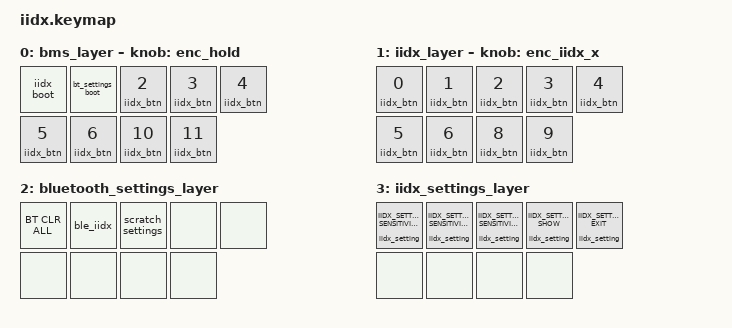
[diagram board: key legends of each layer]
#include <behaviors.dtsi>
#include <dt-bindings/zmk/bt.h>
#include <dt-bindings/zmk/keys.h>
#include <dt-bindings/zmk/outputs.h>
#include <dt-bindings/zmk_iidx/settings.h>

/ {
    behaviors {
        iidx_btn: iidx_button {
            compatible = "zmk,behavior-iidx-button";
            #binding-cells = <1>;
        };

        iidx_mode: iidx_mode {
            compatible = "zmk,behavior-iidx-mode";
            #binding-cells = <0>;
            iidx-layers = <0 1>;
        };

        iidx_boot: iidx_boot {
            compatible = "zmk,behavior-iidx-boot-select";
            #binding-cells = <0>;
            bindings = <&to 1>, <&iidx_btn 0>;
            boot-timeout-ms = <1000>;
        };

        bt_settings_boot: bt_settings_boot {
            compatible = "zmk,behavior-iidx-boot-select";
            #binding-cells = <0>;
            bindings = <&to 2>, <&iidx_btn 1>;
            boot-timeout-ms = <1000>;
        };

        enc_hold: enc_hold {
            compatible = "zmk,behavior-sensor-hold-step-rotate";
            #sensor-binding-cells = <0>;
            step-group-size = <0>;
            timeout-ms = <200>;
            direction-hold-mode = <0>;

            require-top-layer;

            bindings = <
                &iidx_btn 8   /* hold_cw  */
                &iidx_btn 9   /* hold_ccw */
                &none    /* step_cw  */
                &none   /* step_ccw */
            >;
        };

        enc_iidx_x: enc_iidx_x {
            compatible = "zmk,behavior-sensor-iidx-x-value";
            #sensor-binding-cells = <0>;

            index = <0>;
            min = <(-127)>;
            max = <127>;
            step = <(-5)>;
            ticks-per-step = <1>;
            continuous;
        };

        iidx_setting: iidx_setting {
            compatible = "zmk,behavior-iidx-settings";
            #binding-cells = <1>;
        };
    };

    macros {
        ble_iidx: ble_iidx {
            compatible = "zmk,behavior-macro";
            #binding-cells = <0>;
            bindings = <&out OUT_BLE>, <&to 1>;
        };

        scratch_settings: scratch_settings {
            compatible = "zmk,behavior-macro";
            #binding-cells = <0>;
            bindings = <&to 3>, <&iidx_setting IIDX_SETTING_SHOW>;
        };
    };

    keymap {
        compatible = "zmk,keymap";

        bms_layer {
            bindings = <
                &iidx_boot &bt_settings_boot &iidx_btn 2 &iidx_btn 3 &iidx_btn 4
                &iidx_btn 5 &iidx_btn 6 &iidx_btn 10 &iidx_btn 11
            >;
            sensor-bindings = <&enc_hold>;
        };

        iidx_layer {
            bindings = <
                &iidx_btn 0 &iidx_btn 1 &iidx_btn 2 &iidx_btn 3 &iidx_btn 4
                &iidx_btn 5 &iidx_btn 6 &iidx_btn 8 &iidx_btn 9
            >;
            sensor-bindings = <&enc_iidx_x>;
        };

        bluetooth_settings_layer {
            bindings = <
                &bt BT_CLR_ALL &ble_iidx &scratch_settings &none &none
                &none &none &none &none
            >;
        };

        iidx_settings_layer {
            bindings = <
                &iidx_setting IIDX_SETTING_SENSITIVITY_DOWN
                &iidx_setting IIDX_SETTING_SENSITIVITY_UP
                &iidx_setting IIDX_SETTING_SENSITIVITY_RESET
                &iidx_setting IIDX_SETTING_SHOW
                &iidx_setting IIDX_SETTING_EXIT
                &none &none &none &none
            >;
        };
    };
};
